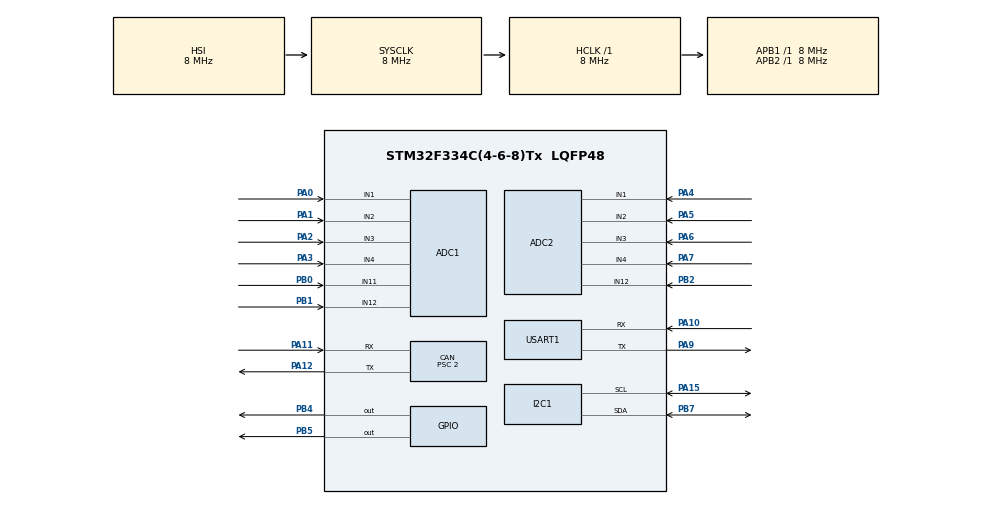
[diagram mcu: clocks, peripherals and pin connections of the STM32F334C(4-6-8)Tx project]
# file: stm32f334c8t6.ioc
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ADC1.Channel-0\#ChannelRegularConversion=ADC_CHANNEL_1
ADC1.Channel-1\#ChannelRegularConversion=ADC_CHANNEL_1
ADC1.Channel-2\#ChannelRegularConversion=ADC_CHANNEL_1
ADC1.Channel-3\#ChannelRegularConversion=ADC_CHANNEL_1
ADC1.Channel-4\#ChannelRegularConversion=ADC_CHANNEL_1
ADC1.Channel-5\#ChannelRegularConversion=ADC_CHANNEL_1
ADC1.NbrOfConversion=6
ADC1.NbrOfConversionFlag=1
ADC1.Offset-0\#ChannelRegularConversion=0
ADC1.Offset-1\#ChannelRegularConversion=0
ADC1.Offset-2\#ChannelRegularConversion=0
ADC1.Offset-3\#ChannelRegularConversion=0
ADC1.Offset-4\#ChannelRegularConversion=0
ADC1.Offset-5\#ChannelRegularConversion=0
ADC1.OffsetNumber-0\#ChannelRegularConversion=ADC_OFFSET_NONE
ADC1.OffsetNumber-1\#ChannelRegularConversion=ADC_OFFSET_NONE
ADC1.OffsetNumber-2\#ChannelRegularConversion=ADC_OFFSET_NONE
ADC1.OffsetNumber-3\#ChannelRegularConversion=ADC_OFFSET_NONE
ADC1.OffsetNumber-4\#ChannelRegularConversion=ADC_OFFSET_NONE
ADC1.OffsetNumber-5\#ChannelRegularConversion=ADC_OFFSET_NONE
ADC1.Rank-0\#ChannelRegularConversion=1
ADC1.Rank-1\#ChannelRegularConversion=2
ADC1.Rank-2\#ChannelRegularConversion=3
ADC1.Rank-3\#ChannelRegularConversion=4
ADC1.Rank-4\#ChannelRegularConversion=5
ADC1.Rank-5\#ChannelRegularConversion=6
ADC1.SamplingTime-0\#ChannelRegularConversion=ADC_SAMPLETIME_1CYCLE_5
ADC1.SamplingTime-1\#ChannelRegularConversion=ADC_SAMPLETIME_1CYCLE_5
ADC1.SamplingTime-2\#ChannelRegularConversion=ADC_SAMPLETIME_1CYCLE_5
ADC1.SamplingTime-3\#ChannelRegularConversion=ADC_SAMPLETIME_1CYCLE_5
ADC1.SamplingTime-4\#ChannelRegularConversion=ADC_SAMPLETIME_1CYCLE_5
ADC1.SamplingTime-5\#ChannelRegularConversion=ADC_SAMPLETIME_1CYCLE_5
ADC1.SamplingTimeOPAMP-1\#ChannelRegularConversion=ADC_SAMPLETIME_4CYCLES_5
ADC1.SamplingTimeOPAMP-2\#ChannelRegularConversion=ADC_SAMPLETIME_4CYCLES_5
ADC1.SamplingTimeOPAMP-3\#ChannelRegularConversion=ADC_SAMPLETIME_4CYCLES_5
ADC1.SamplingTimeOPAMP-4\#ChannelRegularConversion=ADC_SAMPLETIME_4CYCLES_5
ADC1.SamplingTimeOPAMP-5\#ChannelRegularConversion=ADC_SAMPLETIME_4CYCLES_5
ADC1.SubFamily=STM32F334x8
ADC1.master=1
ADC2.Channel-0\#ChannelRegularConversion=ADC_CHANNEL_1
ADC2.Channel-1\#ChannelRegularConversion=ADC_CHANNEL_1
ADC2.Channel-2\#ChannelRegularConversion=ADC_CHANNEL_1
ADC2.Channel-3\#ChannelRegularConversion=ADC_CHANNEL_1
ADC2.Channel-4\#ChannelRegularConversion=ADC_CHANNEL_1
ADC2.NbrOfConversion=5
ADC2.NbrOfConversionFlag=1
ADC2.Offset-0\#ChannelRegularConversion=0
ADC2.Offset-1\#ChannelRegularConversion=0
ADC2.Offset-2\#ChannelRegularConversion=0
ADC2.Offset-3\#ChannelRegularConversion=0
ADC2.Offset-4\#ChannelRegularConversion=0
ADC2.OffsetNumber-0\#ChannelRegularConversion=ADC_OFFSET_NONE
ADC2.OffsetNumber-1\#ChannelRegularConversion=ADC_OFFSET_NONE
ADC2.OffsetNumber-2\#ChannelRegularConversion=ADC_OFFSET_NONE
ADC2.OffsetNumber-3\#ChannelRegularConversion=ADC_OFFSET_NONE
ADC2.OffsetNumber-4\#ChannelRegularConversion=ADC_OFFSET_NONE
ADC2.Rank-0\#ChannelRegularConversion=1
ADC2.Rank-1\#ChannelRegularConversion=2
ADC2.Rank-2\#ChannelRegularConversion=3
ADC2.Rank-3\#ChannelRegularConversion=4
ADC2.Rank-4\#ChannelRegularConversion=5
ADC2.SamplingTime-0\#ChannelRegularConversion=ADC_SAMPLETIME_1CYCLE_5
ADC2.SamplingTime-1\#ChannelRegularConversion=ADC_SAMPLETIME_1CYCLE_5
ADC2.SamplingTime-2\#ChannelRegularConversion=ADC_SAMPLETIME_1CYCLE_5
ADC2.SamplingTime-3\#ChannelRegularConversion=ADC_SAMPLETIME_1CYCLE_5
ADC2.SamplingTime-4\#ChannelRegularConversion=ADC_SAMPLETIME_1CYCLE_5
ADC2.SamplingTimeOPAMP-1\#ChannelRegularConversion=ADC_SAMPLETIME_4CYCLES_5
ADC2.SamplingTimeOPAMP-2\#ChannelRegularConversion=ADC_SAMPLETIME_4CYCLES_5
ADC2.SamplingTimeOPAMP-3\#ChannelRegularConversion=ADC_SAMPLETIME_4CYCLES_5
ADC2.SamplingTimeOPAMP-4\#ChannelRegularConversion=ADC_SAMPLETIME_4CYCLES_5
ADC2.SubFamily=STM32F334x8
CAN.BS1=CAN_BS1_7TQ
CAN.BS2=CAN_BS2_8TQ
CAN.CalculateBaudRate=250000
CAN.CalculateTimeBit=4000
CAN.CalculateTimeQuantum=250.0
CAN.Prescaler=2
Dma.ADC1.0.Direction=DMA_PERIPH_TO_MEMORY
Dma.ADC1.0.Instance=DMA1_Channel1
Dma.ADC1.0.MemDataAlignment=DMA_MDATAALIGN_HALFWORD
Dma.ADC1.0.MemInc=DMA_MINC_ENABLE
Dma.ADC1.0.Mode=DMA_NORMAL
Dma.ADC1.0.PeriphDataAlignment=DMA_PDATAALIGN_HALFWORD
Dma.ADC1.0.PeriphInc=DMA_PINC_DISABLE
Dma.ADC1.0.Priority=DMA_PRIORITY_LOW
Dma.ADC2.1.Direction=DMA_PERIPH_TO_MEMORY
Dma.ADC2.1.Instance=DMA1_Channel2
Dma.ADC2.1.MemDataAlignment=DMA_MDATAALIGN_HALFWORD
Dma.ADC2.1.MemInc=DMA_MINC_ENABLE
Dma.ADC2.1.Mode=DMA_NORMAL
Dma.ADC2.1.PeriphDataAlignment=DMA_PDATAALIGN_HALFWORD
Dma.ADC2.1.PeriphInc=DMA_PINC_DISABLE
Dma.ADC2.1.Priority=DMA_PRIORITY_LOW
Dma.Request0=ADC1
Dma.Request1=ADC2
FREERTOS.Tasks01=loggingTask,8,128,StartLoggingTask,Default,NULL,Dynamic,NULL,NULL;pollingTask,24,128,StartPollingTask,Default,NULL,Dynamic,NULL,NULL;realTimeTask,48,128,StartRealTimeTask,Default,NULL,Dynamic,NULL,NULL
FREERTOS.configUSE_NEWLIB_REENTRANT=1
I2C1.OwnAddress=0x10
I2C1.Timing=0x00201D2B
Mcu.Family=STM32F3
Mcu.Name=STM32F334C(4-6-8)Tx
Mcu.Package=LQFP48
NVIC.ADC1_2_IRQn=true\:5\:0\:false\:false\:true\:true\:true\:true\:true
NVIC.CAN_RX0_IRQn=true\:5\:0\:false\:false\:true\:true\:true\:true\:true
NVIC.CAN_RX1_IRQn=true\:5\:0\:false\:false\:true\:true\:true\:true\:true
NVIC.CAN_SCE_IRQn=true\:5\:0\:false\:false\:true\:true\:true\:true\:true
NVIC.CAN_TX_IRQn=true\:5\:0\:false\:false\:true\:true\:true\:true\:true
NVIC.DMA1_Channel1_IRQn=true\:5\:0\:false\:false\:true\:true\:false\:true\:true
NVIC.DMA1_Channel2_IRQn=true\:5\:0\:false\:false\:true\:true\:false\:true\:true
NVIC.I2C1_ER_IRQn=true\:5\:0\:false\:false\:true\:true\:true\:true\:true
NVIC.I2C1_EV_IRQn=true\:5\:0\:false\:false\:true\:true\:true\:true\:true
NVIC.PriorityGroup=NVIC_PRIORITYGROUP_4
NVIC.TIM6_DAC1_IRQn=true\:15\:0\:false\:false\:true\:false\:false\:true\:true
NVIC.TimeBase=TIM6_DAC1_IRQn
NVIC.TimeBaseIP=TIM6
PA0.Mode=IN1-Single-Ended
PA0.Signal=ADC1_IN1
PA1.Mode=IN2-Single-Ended
PA1.Signal=ADC1_IN2
PA10.Mode=Asynchronous
PA10.Signal=USART1_RX
PA11.Mode=CAN_Activate
PA11.Signal=CAN_RX
PA12.Mode=CAN_Activate
PA12.Signal=CAN_TX
PA13.Mode=Serial_Wire
PA13.Signal=SYS_JTMS-SWDIO
PA14.Mode=Serial_Wire
PA14.Signal=SYS_JTCK-SWCLK
PA15.Mode=I2C
PA15.Signal=I2C1_SCL
PA2.Mode=IN3-Single-Ended
PA2.Signal=ADC1_IN3
PA3.Mode=IN4-Single-Ended
PA3.Signal=ADC1_IN4
PA4.Mode=IN1-Single-Ended
PA4.Signal=ADC2_IN1
PA5.Mode=IN2-Single-Ended
PA5.Signal=ADC2_IN2
PA6.Mode=IN3-Single-Ended
PA6.Signal=ADC2_IN3
PA7.Mode=IN4-Single-Ended
PA7.Signal=ADC2_IN4
PA9.Mode=Asynchronous
PA9.Signal=USART1_TX
PB0.Mode=IN11-Single-Ended
PB0.Signal=ADC1_IN11
PB1.Mode=IN12-Single-Ended
PB1.Signal=ADC1_IN12
PB2.Mode=IN12-Single-Ended
PB2.Signal=ADC2_IN12
PB4.Signal=GPIO_Output
PB5.Signal=GPIO_Output
PB7.Mode=I2C
PB7.Signal=I2C1_SDA
PC14\ /\ OSC32_IN.Mode=LSE-External-Oscillator
PC14\ /\ OSC32_IN.Signal=RCC_OSC32_IN
PC15\ /\ OSC32_OUT.Mode=LSE-External-Oscillator
PC15\ /\ OSC32_OUT.Signal=RCC_OSC32_OUT
PF0\ /\ OSC_IN.Mode=HSE-External-Oscillator
PF0\ /\ OSC_IN.Signal=RCC_OSC_IN
PF1\ /\ OSC_OUT.Mode=HSE-External-Oscillator
PF1\ /\ OSC_OUT.Signal=RCC_OSC_OUT
ProjectManager.HeapSize=0x200
ProjectManager.StackSize=0x400
ProjectManager.TargetToolchain=STM32CubeIDE
RCC.AHBFreq_Value=8000000
RCC.APB1Freq_Value=8000000
RCC.APB2Freq_Value=8000000
RCC.CortexFreq_Value=8000000
RCC.HSE_VALUE=8000000
RCC.HSI_VALUE=8000000
RCC.PLLMUL=RCC_PLL_MUL4
RCC.SYSCLKFreq_VALUE=8000000
USART1.VirtualMode-Asynchronous=VM_ASYNC
VP_FREERTOS_VS_CMSIS_V2.Mode=CMSIS_V2
VP_SYS_VS_tim6.Mode=TIM6
board=custom

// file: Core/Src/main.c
/* USER CODE BEGIN Header */
/**
  ******************************************************************************
  * @file           : main.c
  * @brief          : Main program body
  ******************************************************************************
  * @attention
  *
  * Copyright (c) 2025 STMicroelectronics.
  * All rights reserved.
  *
  * This software is licensed under terms that can be found in the LICENSE file
  * in the root directory of this software component.
  * If no LICENSE file comes with this software, it is provided AS-IS.
  *
  ******************************************************************************
  */
/* USER CODE END Header */
#include "main.h"
#include "cmsis_os.h"

/* USER CODE BEGIN Includes */

#include <string.h>

/* USER CODE END Includes */

/* USER CODE BEGIN PTD */

typedef enum {
  READ = 1,
  WRITE = 0,
} ReadWrite;

typedef enum {
  TYPE_GPIO = 0x00,
  TYPE_PWM = 0x02,
  TYPE_CAN = 0x03,
  TYPE_MISC = 0x04
} PeripheralType;

typedef enum {
  INDEX_PB4 = 0x00,    // LED 1
  INDEX_PB5 = 0x01,    // LED 2
} GPIOIndex;

typedef enum {
  INDEX_PA0 = 0x00,    // PCB 1
  INDEX_PA1 = 0x01,    // PCB 2
  INDEX_PA2 = 0x02,    // PCB 3
  INDEX_PA3 = 0x03,    // PCB 4
  INDEX_PA4 = 0x04,    // PCB 5
  INDEX_PA5 = 0x05,    // PCB 6
  INDEX_PA6 = 0x06,    // PCB 7
  INDEX_PA7 = 0x07,    // PCB 8
  INDEX_PB0 = 0x08,    // PCB 9
  INDEX_PB1 = 0x09,    // PCB 10
  INDEX_PB2 = 0x0A,    // PCB 11
  INDEX_PB10 = 0x0B,   // PCB 12
  INDEX_PA8 = 0x0C,    // PCB 32
  INDEX_PB15 = 0x0D,   // PCB 31
} PWMIndex;

typedef enum {
  INDEX_LDC1 = 0x00,   // Load Cell 1
  INDEX_LDC2 = 0x01,   // Load Cell 2
  INDEX_LDC3 = 0x02,   // Load Cell 3
  INDEX_LDC4 = 0x03,   // Load Cell 4
  INDEX_LDC5 = 0x04,   // Load Cell 5
  INDEX_LDC6 = 0x05,   // Load Cell 6
  INDEX_LDC7 = 0x06,   // Load Cell 7
  INDEX_LDC8 = 0x07,   // Load Cell 8
  INDEX_LDC9 = 0x08,   // Load Cell 9
  INDEX_LDC10 = 0x09,  // Load Cell 10
  INDEX_LDC11 = 0x0A,  // Load Cell 11
  INDEX_LDC12 = 0x0B,  // Load Cell 12
} CANIndex;

typedef enum {
  INDEX_STATUS = 0x00, // STM32 Status
} MISCIndex;

typedef struct {
  uint8_t read_write : 1;
  uint8_t type : 7;
  uint8_t index : 8;
  uint16_t value : 16;
} RPiMessage;

typedef struct {
  uint8_t priority : 3;
  uint8_t reserved : 1;
  uint8_t data_page : 1;
  uint8_t pdu_format : 8;
  uint8_t pdu_specific : 8;
  uint8_t source_address : 8;
  uint32_t pgn : 18;
  uint8_t data[8];
} J1939Message;

typedef enum {
  NORMAL = 1,
  I2C_ERROR = 2,
  CAN_ERROR = 3,
  OS_ERROR = 4,
} Status;

/* USER CODE END PTD */

/* USER CODE BEGIN PD */

#define I2C_TX_BUFFER_SIZE 4  // bytes
#define I2C_RX_BUFFER_SIZE 4  // bytes
#define CAN_TX_BUFFER_SIZE 8  // bytes
#define CAN_RX_BUFFER_SIZE 8  // bytes

#define STATUS_PERIOD 1000    // milliseconds
#define DATA_INTERVAL 300     // milliseconds
#define BLINK_SPEED   100     // milliseconds

#define MAX_PERIPHERAL_TYPE  4
#define MAX_PERIPHERAL_INDEX 14

#define DEFAULT_DATA_VALUE 0xFFFF

#define FALCON_ADDRESS       0x31
#define MERLIN_EXCITATION    0x02
#define MERLIN_RESOLUTION    0x02
#define MERLIN_SAMPLING_RATE 0x06
#define MERLIN_FILETER_WIDTH 0x01
#define MERLIN_GAIN       0x??

/* USER CODE END PD */

ADC_HandleTypeDef hadc1;
ADC_HandleTypeDef hadc2;
DMA_HandleTypeDef hdma_adc1;
DMA_HandleTypeDef hdma_adc2;

CAN_HandleTypeDef hcan;

I2C_HandleTypeDef hi2c1;

UART_HandleTypeDef huart1;

/* Definitions for loggingTask */
osThreadId_t loggingTaskHandle;
const osThreadAttr_t loggingTask_attributes = {
  .name = "loggingTask",
  .stack_size = 128 * 4,
  .priority = (osPriority_t) osPriorityLow,
};
/* Definitions for pollingTask */
osThreadId_t pollingTaskHandle;
const osThreadAttr_t pollingTask_attributes = {
  .name = "pollingTask",
  .stack_size = 128 * 4,
  .priority = (osPriority_t) osPriorityNormal,
};
/* Definitions for realTimeTask */
osThreadId_t realTimeTaskHandle;
const osThreadAttr_t realTimeTask_attributes = {
  .name = "realTimeTask",
  .stack_size = 128 * 4,
  .priority = (osPriority_t) osPriorityRealtime,
};
/* USER CODE BEGIN PV */

osMessageQueueId_t canQueueHandle;
const osMessageQueueAttr_t canQueue_attributes = {
  .name = "canQueue"
};

uint16_t data_table[MAX_PERIPHERAL_TYPE][MAX_PERIPHERAL_INDEX];

uint8_t i2c_tx_buffer[I2C_TX_BUFFER_SIZE];
uint8_t i2c_rx_buffer[I2C_RX_BUFFER_SIZE];

RPiMessage rpi_message;

volatile uint16_t adc1_result_dma[6];
volatile uint16_t adc2_result_dma[5];

const int adc1_channel_count = sizeof (adc1_result_dma) / sizeof (adc1_result_dma[0]);
const int adc2_channel_count = sizeof (adc2_result_dma) / sizeof (adc2_result_dma[0]);

volatile int adc1_complete = 0;
volatile int adc2_complete = 0;

volatile uint8_t can_transport_active = 0;

//CAN_RxHeaderTypeDef can_rx_header;
CAN_TxHeaderTypeDef can_tx_header;

//uint8_t can_rx_buffer[CAN_RX_BUFFER_SIZE];
uint8_t can_tx_buffer[CAN_TX_BUFFER_SIZE];

uint32_t can_tx_mailbox;

//J1939Message can_message;

uint8_t status = NORMAL;

/* USER CODE END PV */

void SystemClock_Config(void);
static void MX_GPIO_Init(void);
static void MX_DMA_Init(void);
static void MX_I2C1_Init(void);
static void MX_USART1_UART_Init(void);
static void MX_ADC1_Init(void);
static void MX_ADC2_Init(void);
static void MX_CAN_Init(void);
void StartLoggingTask(void *argument);
void StartPollingTask(void *argument);
void StartRealTimeTask(void *argument);

/* USER CODE BEGIN PFP */

void ResetI2C(I2C_HandleTypeDef *rev_i2c);

void InitializeData();

void BlinkStatus(uint8_t count, uint16_t delay);

void ParseRPiMessage(uint8_t *i2c_data, RPiMessage *msg);
void ParseJ1939Message(uint32_t can_id, uint8_t *can_data, J1939Message *msg);

void ProcessRPiMessage();
void ProcessJ1939Message(J1939Message j1939_message);

void StartMerlinData(uint8_t address);
void SendMerlinData(uint8_t address);
void SendMerlinConfig(uint8_t address);
void ClaimJ1939Address(uint8_t address);

/* USER CODE END PFP */

/* USER CODE BEGIN 0 */

void ResetI2C(I2C_HandleTypeDef *rev_i2c)
{
  HAL_I2C_DeInit(rev_i2c);
  HAL_I2C_Init(rev_i2c);
}

void InitializeData() {
  // Initialize all entries with 0xFFFF (invalid value)
  for (size_t type = 0; type < MAX_PERIPHERAL_TYPE; type++) {
    for (size_t index = 0; index < MAX_PERIPHERAL_INDEX; index++) {
      data_table[type][index] = DEFAULT_DATA_VALUE;
    }
  }
}

void BlinkStatus(uint8_t count, uint16_t delay)
{
  for (int i = 0; i < (count * 2) ; i++)
  {
    // Toggle 'status' LED
    HAL_GPIO_TogglePin(GPIOB, GPIO_PIN_4);
    osDelay(delay);
  }
}

void ParseRPiMessage(uint8_t *i2c_data, RPiMessage *msg)
{
  msg->read_write = (i2c_data[0] >> 7) & 0x01;
  msg->type = i2c_data[0] & 0x7F;
  msg->index = i2c_data[1];
  msg->value = (i2c_data[2] << 8) | i2c_data[3];
}

void ParseJ1939Message(uint32_t can_id, uint8_t *can_data, J1939Message *msg)
{
  msg->priority = (can_id >> 26) & 0x07;
  msg->reserved = (can_id >> 25) & 0x01;
  msg->data_page = (can_id >> 24) & 0x01;
  msg->pdu_format = (can_id >> 16) & 0xFF;
  msg->pdu_specific = (can_id >> 8) & 0xFF;
  msg->source_address = can_id & 0xFF;
  msg->pgn = (can_id >> 8) & 0x3FFFF;
  memcpy(msg->data, can_data, 8);
}

/**
  * @brief  Logic for handling RPi messages.
  */
void ProcessRPiMessage()
{
  ParseRPiMessage(i2c_rx_buffer, &rpi_message);
  uint16_t return_value = DEFAULT_DATA_VALUE;

  if (rpi_message.read_write == READ)
  {
    return_value = data_table[rpi_message.type][rpi_message.index];
  }

  if (rpi_message.read_write == WRITE)
  {
    data_table[rpi_message.type][rpi_message.index] = rpi_message.value;
    return_value = data_table[rpi_message.type][rpi_message.index];
  }

  i2c_tx_buffer[0] = i2c_rx_buffer[0];
  i2c_tx_buffer[1] = i2c_rx_buffer[1];
  i2c_tx_buffer[2] = (return_value >> 8) & 0xFF;
  i2c_tx_buffer[3] = return_value & 0xFF;
  HAL_I2C_Slave_Transmit_IT(&hi2c1, (uint8_t*)&i2c_tx_buffer, I2C_TX_BUFFER_SIZE);
}

void ProcessJ1939Message(J1939Message j1939_message)
{
  // Device Addressing
  if (j1939_message.pgn == 0xFED8)
  {
    // TODO: handle device addressing
  }
  // Sensor Configuration
  else if (j1939_message.pdu_format == 0xEF)
  {
    // TODO: process and save configuration options
    SendMerlinConfig(j1939_message.pdu_specific);
  }
  // Transport Protocol
  else if (j1939_message.pdu_format == 0xEC)
  {
    if (j1939_message.data[0] == 0x11) // start
    {
      SendMerlinData(j1939_message.pdu_specific);
    }
    if (j1939_message.data[0] == 0x13) // stop
    {
      // ignore
    }
  }
  // Merlin Sensor Reading
  else if (j1939_message.pdu_format == 0xEA)
  {
    StartMerlinData(j1939_message.pdu_specific);
  }
}

void StartMerlinData(uint8_t address)
{
  can_tx_header.ExtId = 0x1CEC0000 | (FALCON_ADDRESS << 8) | address;
  can_tx_header.IDE = CAN_ID_EXT;
  can_tx_header.RTR = CAN_RTR_DATA;
  can_tx_header.DLC = CAN_RX_BUFFER_SIZE;
  can_tx_header.TransmitGlobalTime = DISABLE;

  can_tx_buffer[0] = 0x10;
  can_tx_buffer[1] = 0x16;
  can_tx_buffer[2] = 0x00;
  can_tx_buffer[3] = 0x04;
  can_tx_buffer[4] = 0xFF;
  can_tx_buffer[5] = 0x80;
  can_tx_buffer[6] = 0xFF;
  can_tx_buffer[7] = 0x00;

  if (HAL_CAN_AddTxMessage(&hcan, &can_tx_header, can_tx_buffer, &can_tx_mailbox) != HAL_OK)
  {
    status = CAN_ERROR;
  }
}

void SendMerlinData(uint8_t address)
{
  uint8_t offset = (address - 0xB5) * 4;
  int32_t weight_1 = (int32_t)data_table[TYPE_CAN][INDEX_LDC1 + offset];
  int32_t weight_2 = (int32_t)data_table[TYPE_CAN][INDEX_LDC2 + offset];
  int32_t weight_3 = (int32_t)data_table[TYPE_CAN][INDEX_LDC3 + offset];
  int32_t weight_4 = (int32_t)data_table[TYPE_CAN][INDEX_LDC4 + offset];

  // gain * excitation = 15,000,000
  uint8_t gain = 100;
  int32_t excitation_voltage = 150000;

  can_tx_header.ExtId = 0x1CEB0000 | (FALCON_ADDRESS << 8) | address;
  can_tx_header.IDE = CAN_ID_EXT;
  can_tx_header.RTR = CAN_RTR_DATA;
  can_tx_header.DLC = CAN_RX_BUFFER_SIZE;
  can_tx_header.TransmitGlobalTime = DISABLE;

  can_tx_buffer[0] = 0x01;
  can_tx_buffer[1] = (MERLIN_RESOLUTION << 4) | MERLIN_EXCITATION;
  can_tx_buffer[2] = gain;
  can_tx_buffer[3] = excitation_voltage & 0xFF;
  can_tx_buffer[4] = (excitation_voltage >> 8) & 0xFF;
  can_tx_buffer[5] = (excitation_voltage >> 16) & 0xFF;
  can_tx_buffer[6] = (excitation_voltage >> 24) & 0xFF;
  can_tx_buffer[7] = weight_1 & 0xFF;

  if (HAL_CAN_AddTxMessage(&hcan, &can_tx_header, can_tx_buffer, &can_tx_mailbox) != HAL_OK)
  {
    status = CAN_ERROR;
  }

  can_tx_buffer[0] = 0x02;
  can_tx_buffer[1] = (weight_1 >> 8) & 0xFF;
  can_tx_buffer[2] = (weight_1 >> 16) & 0xFF;
  can_tx_buffer[3] = (weight_1 >> 24) & 0xFF;
  can_tx_buffer[4] = weight_2 & 0xFF;
  can_tx_buffer[5] = (weight_2 >> 8) & 0xFF;
  can_tx_buffer[6] = (weight_2 >> 16) & 0xFF;
  can_tx_buffer[7] = (weight_2 >> 24) & 0xFF;

  while (HAL_CAN_IsTxMessagePending(&hcan, can_tx_mailbox) == SET) {}
  if (HAL_CAN_AddTxMessage(&hcan, &can_tx_header, can_tx_buffer, &can_tx_mailbox) != HAL_OK)
  {
    status = CAN_ERROR;
  }

  can_tx_buffer[0] = 0x03;
  can_tx_buffer[1] = weight_3 & 0xFF;
  can_tx_buffer[2] = (weight_3 >> 8) & 0xFF;
  can_tx_buffer[3] = (weight_3 >> 16) & 0xFF;
  can_tx_buffer[4] = (weight_3 >> 24) & 0xFF;
  can_tx_buffer[5] = weight_4 & 0xFF;
  can_tx_buffer[6] = (weight_4 >> 8) & 0xFF;
  can_tx_buffer[7] = (weight_4 >> 16) & 0xFF;

  while (HAL_CAN_IsTxMessagePending(&hcan, can_tx_mailbox) == SET) {}
  if (HAL_CAN_AddTxMessage(&hcan, &can_tx_header, can_tx_buffer, &can_tx_mailbox) != HAL_OK)
  {
    status = CAN_ERROR;
  }

  can_tx_buffer[0] = 0x04;
  can_tx_buffer[1] = (weight_4 >> 24) & 0xFF;
  can_tx_buffer[2] = 0xFF;
  can_tx_buffer[3] = 0xFF;
  can_tx_buffer[4] = 0xFF;
  can_tx_buffer[5] = 0xFF;
  can_tx_buffer[6] = 0xFF;
  can_tx_buffer[7] = 0xFF;

  while (HAL_CAN_IsTxMessagePending(&hcan, can_tx_mailbox) == SET) {}
  if (HAL_CAN_AddTxMessage(&hcan, &can_tx_header, can_tx_buffer, &can_tx_mailbox) != HAL_OK)
  {
    status = CAN_ERROR;
  }
}

void SendMerlinConfig(uint8_t address)
{
  can_tx_header.ExtId = 0x18EF0000 | (FALCON_ADDRESS << 8) | address;
  can_tx_header.IDE = CAN_ID_EXT;
  can_tx_header.RTR = CAN_RTR_DATA;
  can_tx_header.DLC = CAN_RX_BUFFER_SIZE;
  can_tx_header.TransmitGlobalTime = DISABLE;

  can_tx_buffer[0] = 0x01; // must be set to 1
  can_tx_buffer[1] = 0x0F; // response (9-12)
  can_tx_buffer[2] = 0xFF; // unused
  can_tx_buffer[3] = 0xFF; // unused
  can_tx_buffer[4] = 0xFF; // unused
  can_tx_buffer[5] = 0xFF; // unused
  can_tx_buffer[6] = 0xFF; // unused
  can_tx_buffer[7] = 0xFF; // unused

  if (HAL_CAN_AddTxMessage(&hcan, &can_tx_header, can_tx_buffer, &can_tx_mailbox) != HAL_OK)
  {
    status = CAN_ERROR;
  }
}

void ClaimJ1939Address(uint8_t address)
{
  can_tx_header.ExtId = 0x18EEFF00 | (FALCON_ADDRESS << 8) | address;
  can_tx_header.IDE = CAN_ID_EXT;
  can_tx_header.RTR = CAN_RTR_DATA;
  can_tx_header.DLC = CAN_RX_BUFFER_SIZE;
  can_tx_header.TransmitGlobalTime = DISABLE;

  can_tx_buffer[0] = 0xFE;
  can_tx_buffer[1] = 0x2A;
  can_tx_buffer[2] = 0x60;
  can_tx_buffer[3] = 0x49;
  can_tx_buffer[4] = 0x00;
  can_tx_buffer[5] = 0x87;
  can_tx_buffer[6] = 0x22;
  can_tx_buffer[7] = 0xA0;

  if (HAL_CAN_AddTxMessage(&hcan, &can_tx_header, can_tx_buffer, &can_tx_mailbox) != HAL_OK)
  {
    status = CAN_ERROR;
  }

  // beyond this... I'm not too sure what's going on

//  can_tx_header.ExtId = 0x18E80000 | (FALCON_ADDRESS << 8) | address;
//
//  can_tx_buffer[0] = 0x01;
//  can_tx_buffer[1] = 0x00;
//  can_tx_buffer[2] = 0xFF;
//  can_tx_buffer[3] = 0xFF;
//  can_tx_buffer[4] = 0xFF;
//  can_tx_buffer[5] = 0x80;
//  can_tx_buffer[6] = 0xFF;
//  can_tx_buffer[7] = 0x00;
//
//  osDelay(250);
//  while (HAL_CAN_IsTxMessagePending(&hcan, can_tx_mailbox) == SET) {}
//  if (HAL_CAN_AddTxMessage(&hcan, &can_tx_header, can_tx_buffer, &can_tx_mailbox) != HAL_OK)
//  {
//    status = CAN_ERROR;
//  }
//
//  osDelay(250);
//  while (HAL_CAN_IsTxMessagePending(&hcan, can_tx_mailbox) == SET) {}
//  if (HAL_CAN_AddTxMessage(&hcan, &can_tx_header, can_tx_buffer, &can_tx_mailbox) != HAL_OK)
//  {
//    status = CAN_ERROR;
//  }
}

void HAL_ADC_ConvCpltCallback(ADC_HandleTypeDef *hadc)
{
  if (hadc == &hadc1)
  {
    adc1_complete = 1;
  }
  if (hadc == &hadc2)
  {
    adc2_complete = 2;
  }
}

void HAL_I2C_SlaveRxCpltCallback(I2C_HandleTypeDef *hi2c)
{
  if (hi2c == &hi2c1)
  {
    ProcessRPiMessage();
  }
}

void HAL_I2C_SlaveTxCpltCallback(I2C_HandleTypeDef *hi2c)
{
  if (hi2c == &hi2c1)
  {
    HAL_I2C_Slave_Receive_IT(&hi2c1, (uint8_t*)&i2c_rx_buffer, I2C_RX_BUFFER_SIZE);
  }
}

void HAL_I2C_ErrorCallback(I2C_HandleTypeDef *hi2c)
{
  if (hi2c == &hi2c1)
  {
    status = I2C_ERROR;
    ResetI2C(hi2c);
  }
}

void HAL_CAN_RxFifo0MsgPendingCallback(CAN_HandleTypeDef *hcan)
{
  CAN_RxHeaderTypeDef can_rx_header;
  uint8_t can_rx_buffer[CAN_RX_BUFFER_SIZE];
  J1939Message can_message;

  if (HAL_CAN_GetRxMessage(hcan, CAN_RX_FIFO0, &can_rx_header, can_rx_buffer) != HAL_OK)
  {
    status = CAN_ERROR;
  }

  ParseJ1939Message(can_rx_header.ExtId, can_rx_buffer, &can_message);

  if (osMessageQueuePut(canQueueHandle, &can_message, 0, 0) != osOK)
  {
    status = OS_ERROR;
  }
}

/* USER CODE END 0 */

int main(void)
{

  /* MCU Configuration--------------------------------------------------------*/

  /* Reset of all peripherals, Initializes the Flash interface and the Systick. */
  HAL_Init();

  /* Configure the system clock */
  SystemClock_Config();

  /* Initialize all configured peripherals */
  MX_GPIO_Init();
  MX_DMA_Init();
  MX_I2C1_Init();
  MX_USART1_UART_Init();
  MX_ADC1_Init();
  MX_ADC2_Init();
  MX_CAN_Init();

  /* Init scheduler */
  osKernelInitialize();

  /* USER CODE BEGIN RTOS_QUEUES */

  canQueueHandle = osMessageQueueNew (16, sizeof(J1939Message), &canQueue_attributes);

  /* USER CODE END RTOS_QUEUES */

  /* Create the thread(s) */
  /* creation of loggingTask */
  loggingTaskHandle = osThreadNew(StartLoggingTask, NULL, &loggingTask_attributes);

  /* creation of pollingTask */
  pollingTaskHandle = osThreadNew(StartPollingTask, NULL, &pollingTask_attributes);

  /* creation of realTimeTask */
  realTimeTaskHandle = osThreadNew(StartRealTimeTask, NULL, &realTimeTask_attributes);

  /* Start scheduler */
  osKernelStart();

  /* We should never get here as control is now taken by the scheduler */

  /* Infinite loop */
  while (1)
  {

  }
}

void SystemClock_Config(void)
{
  RCC_OscInitTypeDef RCC_OscInitStruct = {0};
  RCC_ClkInitTypeDef RCC_ClkInitStruct = {0};
  RCC_PeriphCLKInitTypeDef PeriphClkInit = {0};

  /** Initializes the RCC Oscillators according to the specified parameters
  * in the RCC_OscInitTypeDef structure.
  */
  RCC_OscInitStruct.OscillatorType = RCC_OSCILLATORTYPE_HSI;
  RCC_OscInitStruct.HSIState = RCC_HSI_ON;
  RCC_OscInitStruct.HSICalibrationValue = RCC_HSICALIBRATION_DEFAULT;
  RCC_OscInitStruct.PLL.PLLState = RCC_PLL_ON;
  RCC_OscInitStruct.PLL.PLLSource = RCC_PLLSOURCE_HSI;
  RCC_OscInitStruct.PLL.PLLMUL = RCC_PLL_MUL4;
  if (HAL_RCC_OscConfig(&RCC_OscInitStruct) != HAL_OK)
  {
    Error_Handler();
  }

  /** Initializes the CPU, AHB and APB buses clocks
  */
  RCC_ClkInitStruct.ClockType = RCC_CLOCKTYPE_HCLK|RCC_CLOCKTYPE_SYSCLK
                              |RCC_CLOCKTYPE_PCLK1|RCC_CLOCKTYPE_PCLK2;
  RCC_ClkInitStruct.SYSCLKSource = RCC_SYSCLKSOURCE_HSI;
  RCC_ClkInitStruct.AHBCLKDivider = RCC_SYSCLK_DIV1;
  RCC_ClkInitStruct.APB1CLKDivider = RCC_HCLK_DIV1;
  RCC_ClkInitStruct.APB2CLKDivider = RCC_HCLK_DIV1;

  if (HAL_RCC_ClockConfig(&RCC_ClkInitStruct, FLASH_LATENCY_0) != HAL_OK)
  {
    Error_Handler();
  }
  PeriphClkInit.PeriphClockSelection = RCC_PERIPHCLK_USART1|RCC_PERIPHCLK_I2C1
                              |RCC_PERIPHCLK_ADC12;
  PeriphClkInit.Usart1ClockSelection = RCC_USART1CLKSOURCE_PCLK1;
  PeriphClkInit.Adc12ClockSelection = RCC_ADC12PLLCLK_DIV1;
  PeriphClkInit.I2c1ClockSelection = RCC_I2C1CLKSOURCE_HSI;
  if (HAL_RCCEx_PeriphCLKConfig(&PeriphClkInit) != HAL_OK)
  {
    Error_Handler();
  }
}

static void MX_ADC1_Init(void)
{

  ADC_MultiModeTypeDef multimode = {0};
  ADC_ChannelConfTypeDef sConfig = {0};

  /** Common config
  */
  hadc1.Instance = ADC1;
  hadc1.Init.ClockPrescaler = ADC_CLOCK_ASYNC_DIV1;
  hadc1.Init.Resolution = ADC_RESOLUTION_12B;
  hadc1.Init.ScanConvMode = ADC_SCAN_ENABLE;
  hadc1.Init.ContinuousConvMode = DISABLE;
  hadc1.Init.DiscontinuousConvMode = DISABLE;
  hadc1.Init.ExternalTrigConvEdge = ADC_EXTERNALTRIGCONVEDGE_NONE;
  hadc1.Init.ExternalTrigConv = ADC_SOFTWARE_START;
  hadc1.Init.DataAlign = ADC_DATAALIGN_RIGHT;
  hadc1.Init.NbrOfConversion = 6;
  hadc1.Init.DMAContinuousRequests = DISABLE;
  hadc1.Init.EOCSelection = ADC_EOC_SINGLE_CONV;
  hadc1.Init.LowPowerAutoWait = DISABLE;
  hadc1.Init.Overrun = ADC_OVR_DATA_OVERWRITTEN;
  if (HAL_ADC_Init(&hadc1) != HAL_OK)
  {
    Error_Handler();
  }

  /** Configure the ADC multi-mode
  */
  multimode.Mode = ADC_MODE_INDEPENDENT;
  if (HAL_ADCEx_MultiModeConfigChannel(&hadc1, &multimode) != HAL_OK)
  {
    Error_Handler();
  }

  /** Configure Regular Channel
  */
  sConfig.Channel = ADC_CHANNEL_1;
  sConfig.Rank = ADC_REGULAR_RANK_1;
  sConfig.SingleDiff = ADC_SINGLE_ENDED;
  sConfig.SamplingTime = ADC_SAMPLETIME_1CYCLE_5;
  sConfig.OffsetNumber = ADC_OFFSET_NONE;
  sConfig.Offset = 0;
  if (HAL_ADC_ConfigChannel(&hadc1, &sConfig) != HAL_OK)
  {
    Error_Handler();
  }

  /** Configure Regular Channel
  */
  sConfig.Rank = ADC_REGULAR_RANK_2;
  if (HAL_ADC_ConfigChannel(&hadc1, &sConfig) != HAL_OK)
  {
    Error_Handler();
  }

  /** Configure Regular Channel
  */
  sConfig.Rank = ADC_REGULAR_RANK_3;
  if (HAL_ADC_ConfigChannel(&hadc1, &sConfig) != HAL_OK)
  {
    Error_Handler();
  }

  /** Configure Regular Channel
  */
  sConfig.Rank = ADC_REGULAR_RANK_4;
  if (HAL_ADC_ConfigChannel(&hadc1, &sConfig) != HAL_OK)
  {
    Error_Handler();
  }

  /** Configure Regular Channel
  */
  sConfig.Rank = ADC_REGULAR_RANK_5;
  if (HAL_ADC_ConfigChannel(&hadc1, &sConfig) != HAL_OK)
  {
    Error_Handler();
  }

  /** Configure Regular Channel
  */
  sConfig.Rank = ADC_REGULAR_RANK_6;
  if (HAL_ADC_ConfigChannel(&hadc1, &sConfig) != HAL_OK)
  {
    Error_Handler();
  }

}

static void MX_ADC2_Init(void)
{

  ADC_ChannelConfTypeDef sConfig = {0};

  /** Common config
  */
  hadc2.Instance = ADC2;
  hadc2.Init.ClockPrescaler = ADC_CLOCK_ASYNC_DIV1;
  hadc2.Init.Resolution = ADC_RESOLUTION_12B;
  hadc2.Init.ScanConvMode = ADC_SCAN_ENABLE;
  hadc2.Init.ContinuousConvMode = DISABLE;
  hadc2.Init.DiscontinuousConvMode = DISABLE;
  hadc2.Init.ExternalTrigConvEdge = ADC_EXTERNALTRIGCONVEDGE_NONE;
  hadc2.Init.ExternalTrigConv = ADC_SOFTWARE_START;
  hadc2.Init.DataAlign = ADC_DATAALIGN_RIGHT;
  hadc2.Init.NbrOfConversion = 5;
  hadc2.Init.DMAContinuousRequests = DISABLE;
  hadc2.Init.EOCSelection = ADC_EOC_SINGLE_CONV;
  hadc2.Init.LowPowerAutoWait = DISABLE;
  hadc2.Init.Overrun = ADC_OVR_DATA_OVERWRITTEN;
  if (HAL_ADC_Init(&hadc2) != HAL_OK)
  {
    Error_Handler();
  }

  /** Configure Regular Channel
  */
  sConfig.Channel = ADC_CHANNEL_1;
  sConfig.Rank = ADC_REGULAR_RANK_1;
  sConfig.SingleDiff = ADC_SINGLE_ENDED;
  sConfig.SamplingTime = ADC_SAMPLETIME_1CYCLE_5;
  sConfig.OffsetNumber = ADC_OFFSET_NONE;
  sConfig.Offset = 0;
  if (HAL_ADC_ConfigChannel(&hadc2, &sConfig) != HAL_OK)
  {
    Error_Handler();
  }

  /** Configure Regular Channel
  */
  sConfig.Rank = ADC_REGULAR_RANK_2;
  if (HAL_ADC_ConfigChannel(&hadc2, &sConfig) != HAL_OK)
  {
    Error_Handler();
  }

  /** Configure Regular Channel
  */
  sConfig.Rank = ADC_REGULAR_RANK_3;
  if (HAL_ADC_ConfigChannel(&hadc2, &sConfig) != HAL_OK)
  {
    Error_Handler();
  }

  /** Configure Regular Channel
  */
  sConfig.Rank = ADC_REGULAR_RANK_4;
  if (HAL_ADC_ConfigChannel(&hadc2, &sConfig) != HAL_OK)
  {
    Error_Handler();
  }

  /** Configure Regular Channel
  */
  sConfig.Rank = ADC_REGULAR_RANK_5;
  if (HAL_ADC_ConfigChannel(&hadc2, &sConfig) != HAL_OK)
  {
    Error_Handler();
  }

}

static void MX_CAN_Init(void)
{

  hcan.Instance = CAN;
  hcan.Init.Prescaler = 2;
  hcan.Init.Mode = CAN_MODE_NORMAL;
  hcan.Init.SyncJumpWidth = CAN_SJW_1TQ;
  hcan.Init.TimeSeg1 = CAN_BS1_7TQ;
  hcan.Init.TimeSeg2 = CAN_BS2_8TQ;
  hcan.Init.TimeTriggeredMode = DISABLE;
  hcan.Init.AutoBusOff = DISABLE;
  hcan.Init.AutoWakeUp = DISABLE;
  hcan.Init.AutoRetransmission = DISABLE;
  hcan.Init.ReceiveFifoLocked = DISABLE;
  hcan.Init.TransmitFifoPriority = DISABLE;
  if (HAL_CAN_Init(&hcan) != HAL_OK)
  {
    Error_Handler();
  }
  /* USER CODE BEGIN CAN_Init 2 */

  CAN_FilterTypeDef can_filter_config1, can_filter_config2, can_filter_config3;

  can_filter_config1.FilterBank = 0;
  can_filter_config1.FilterMode = CAN_FILTERMODE_IDMASK;
  can_filter_config1.FilterScale = CAN_FILTERSCALE_32BIT;
  can_filter_config1.FilterIdHigh = (0x18EAB631 >> 13) & 0xFFFF;
  can_filter_config1.FilterIdLow = ( 0x18EAB631 << 3) & 0xFFF8;
  can_filter_config1.FilterMaskIdHigh = (0x1FFFF000 >> 13) & 0xFFFF;
  can_filter_config1.FilterMaskIdLow =(0x1FFFF000 << 3) & 0xFFF8;
  can_filter_config1.FilterFIFOAssignment = CAN_RX_FIFO0;
  can_filter_config1.FilterActivation = ENABLE;

  can_filter_config2.FilterBank = 1;
  can_filter_config2.FilterMode = CAN_FILTERMODE_IDMASK;
  can_filter_config2.FilterScale = CAN_FILTERSCALE_32BIT;
  can_filter_config2.FilterIdHigh = (0x1CECB631 >> 13) & 0xFFFF;
  can_filter_config2.FilterIdLow = (0x1CECB631 << 3) & 0xFFF8;
  can_filter_config2.FilterMaskIdHigh = (0x1FFFF000 >> 13) & 0xFFFF;
  can_filter_config2.FilterMaskIdLow = (0x1FFFF000 << 3) & 0xFFF8;
  can_filter_config2.FilterFIFOAssignment = CAN_RX_FIFO0;
  can_filter_config2.FilterActivation = ENABLE;

  can_filter_config3.FilterBank = 2;
  can_filter_config3.FilterMode = CAN_FILTERMODE_IDMASK;
  can_filter_config3.FilterScale = CAN_FILTERSCALE_32BIT;
  can_filter_config3.FilterIdHigh = (0x18EFB631 >> 13) & 0xFFFF;
  can_filter_config3.FilterIdLow = (0x18EFB631 << 3) & 0xFFF8;
  can_filter_config3.FilterMaskIdHigh = (0x1FFFF000 >> 13) & 0xFFFF;
  can_filter_config3.FilterMaskIdLow = (0x1FFFF000 << 3) & 0xFFF8;
  can_filter_config3.FilterFIFOAssignment = CAN_RX_FIFO0;
  can_filter_config3.FilterActivation = ENABLE;

  if (HAL_CAN_ConfigFilter(&hcan, &can_filter_config1) != HAL_OK)
  {
    status = CAN_ERROR;
    Error_Handler();
  }

  if (HAL_CAN_ConfigFilter(&hcan, &can_filter_config2) != HAL_OK)
  {
    status = CAN_ERROR;
    Error_Handler();
  }

  if (HAL_CAN_ConfigFilter(&hcan, &can_filter_config3) != HAL_OK)
  {
    status = CAN_ERROR;
    Error_Handler();
  }

  /* USER CODE END CAN_Init 2 */

}

static void MX_I2C1_Init(void)
{

  hi2c1.Instance = I2C1;
  hi2c1.Init.Timing = 0x00201D2B;
  hi2c1.Init.OwnAddress1 = 32;
  hi2c1.Init.AddressingMode = I2C_ADDRESSINGMODE_7BIT;
  hi2c1.Init.DualAddressMode = I2C_DUALADDRESS_DISABLE;
  hi2c1.Init.OwnAddress2 = 0;
  hi2c1.Init.OwnAddress2Masks = I2C_OA2_NOMASK;
  hi2c1.Init.GeneralCallMode = I2C_GENERALCALL_DISABLE;
  hi2c1.Init.NoStretchMode = I2C_NOSTRETCH_DISABLE;
  if (HAL_I2C_Init(&hi2c1) != HAL_OK)
  {
    Error_Handler();
  }

  /** Configure Analogue filter
  */
  if (HAL_I2CEx_ConfigAnalogFilter(&hi2c1, I2C_ANALOGFILTER_ENABLE) != HAL_OK)
  {
    Error_Handler();
  }

  /** Configure Digital filter
  */
  if (HAL_I2CEx_ConfigDigitalFilter(&hi2c1, 0) != HAL_OK)
  {
    Error_Handler();
  }

}

static void MX_USART1_UART_Init(void)
{

  huart1.Instance = USART1;
  huart1.Init.BaudRate = 38400;
  huart1.Init.WordLength = UART_WORDLENGTH_8B;
  huart1.Init.StopBits = UART_STOPBITS_1;
  huart1.Init.Parity = UART_PARITY_NONE;
  huart1.Init.Mode = UART_MODE_TX_RX;
  huart1.Init.HwFlowCtl = UART_HWCONTROL_NONE;
  huart1.Init.OverSampling = UART_OVERSAMPLING_16;
  huart1.Init.OneBitSampling = UART_ONE_BIT_SAMPLE_DISABLE;
  huart1.AdvancedInit.AdvFeatureInit = UART_ADVFEATURE_NO_INIT;
  if (HAL_UART_Init(&huart1) != HAL_OK)
  {
    Error_Handler();
  }

}

static void MX_DMA_Init(void)
{

  /* DMA controller clock enable */
  __HAL_RCC_DMA1_CLK_ENABLE();

  /* DMA interrupt init */
  /* DMA1_Channel1_IRQn interrupt configuration */
  HAL_NVIC_SetPriority(DMA1_Channel1_IRQn, 5, 0);
  HAL_NVIC_EnableIRQ(DMA1_Channel1_IRQn);
  /* DMA1_Channel2_IRQn interrupt configuration */
  HAL_NVIC_SetPriority(DMA1_Channel2_IRQn, 5, 0);
  HAL_NVIC_EnableIRQ(DMA1_Channel2_IRQn);

}

static void MX_GPIO_Init(void)
{
  GPIO_InitTypeDef GPIO_InitStruct = {0};

  /* GPIO Ports Clock Enable */
  __HAL_RCC_GPIOC_CLK_ENABLE();
  __HAL_RCC_GPIOF_CLK_ENABLE();
  __HAL_RCC_GPIOA_CLK_ENABLE();
  __HAL_RCC_GPIOB_CLK_ENABLE();

  /*Configure GPIO pin Output Level */
  HAL_GPIO_WritePin(GPIOB, GPIO_PIN_4|GPIO_PIN_5, GPIO_PIN_RESET);

  /*Configure GPIO pins : PB4 PB5 */
  GPIO_InitStruct.Pin = GPIO_PIN_4|GPIO_PIN_5;
  GPIO_InitStruct.Mode = GPIO_MODE_OUTPUT_PP;
  GPIO_InitStruct.Pull = GPIO_NOPULL;
  GPIO_InitStruct.Speed = GPIO_SPEED_FREQ_LOW;
  HAL_GPIO_Init(GPIOB, &GPIO_InitStruct);

}

void StartLoggingTask(void *argument)
{
  /* USER CODE BEGIN 5 */
  /* Infinite loop */
  for(;;)
  {
    data_table[TYPE_MISC][INDEX_STATUS] = status;
    BlinkStatus(status, BLINK_SPEED);
    osDelay(STATUS_PERIOD);
  }
  osThreadTerminate(NULL);
  /* USER CODE END 5 */
}

void StartPollingTask(void *argument)
{
  /* USER CODE BEGIN StartPollingTask */

  InitializeData();

  /* Infinite loop */
  for(;;)
  {
    // Read ADC1
    if (HAL_ADC_Start_DMA(&hadc1, (uint32_t*)adc1_result_dma, adc1_channel_count) != HAL_OK)
    {
      Error_Handler();
    }

    // Read ADC2
    if (HAL_ADC_Start_DMA(&hadc2, (uint32_t*)adc2_result_dma, adc2_channel_count) != HAL_OK)
    {
      Error_Handler();
    }

    // Wait for DMA to finish
    while (!adc1_complete && !adc2_complete) {}
    adc1_complete = 0;
    adc2_complete = 0;

    // Update Values
    data_table[TYPE_PWM][INDEX_PA0] = adc1_result_dma[0];
    data_table[TYPE_PWM][INDEX_PA1] = adc1_result_dma[1];
    data_table[TYPE_PWM][INDEX_PA2] = adc1_result_dma[2];
    data_table[TYPE_PWM][INDEX_PA3] = adc1_result_dma[3];
    data_table[TYPE_PWM][INDEX_PB0] = adc1_result_dma[4];
    data_table[TYPE_PWM][INDEX_PB1] = adc1_result_dma[5];
    data_table[TYPE_PWM][INDEX_PA4] = adc2_result_dma[0];
    data_table[TYPE_PWM][INDEX_PA5] = adc2_result_dma[1];
    data_table[TYPE_PWM][INDEX_PA6] = adc2_result_dma[2];
    data_table[TYPE_PWM][INDEX_PA7] = adc2_result_dma[3];
    data_table[TYPE_PWM][INDEX_PB2] = adc2_result_dma[4];

    // Toggle LED 0
    HAL_GPIO_WritePin(GPIOB, GPIO_PIN_5, data_table[TYPE_GPIO][INDEX_PB5]);

    osDelay(DATA_INTERVAL);
  }
  osThreadTerminate(NULL);
  /* USER CODE END StartPollingTask */
}

void StartRealTimeTask(void *argument)
{
  /* USER CODE BEGIN StartRealTimeTask */

  J1939Message message;

  HAL_I2C_Slave_Receive_IT(&hi2c1, (uint8_t*)&i2c_rx_buffer, I2C_RX_BUFFER_SIZE);

  HAL_CAN_Start(&hcan);
  HAL_CAN_ActivateNotification(&hcan, CAN_IT_RX_FIFO0_MSG_PENDING);

  ClaimJ1939Address(0xB5);
  ClaimJ1939Address(0xB6);

  /* Infinite loop */
  for(;;)
  {
    if (osMessageQueueGet(canQueueHandle, &message, NULL, 0) == osOK)
    {
      ProcessJ1939Message(message);
    }
    osDelay(1);
  }
  osThreadTerminate(NULL);
  /* USER CODE END StartRealTimeTask */
}

void HAL_TIM_PeriodElapsedCallback(TIM_HandleTypeDef *htim)
{
  if (htim->Instance == TIM6) {
    HAL_IncTick();
  }
}

void Error_Handler(void)
{
  __disable_irq();
  while (1)
  {
  }
}
